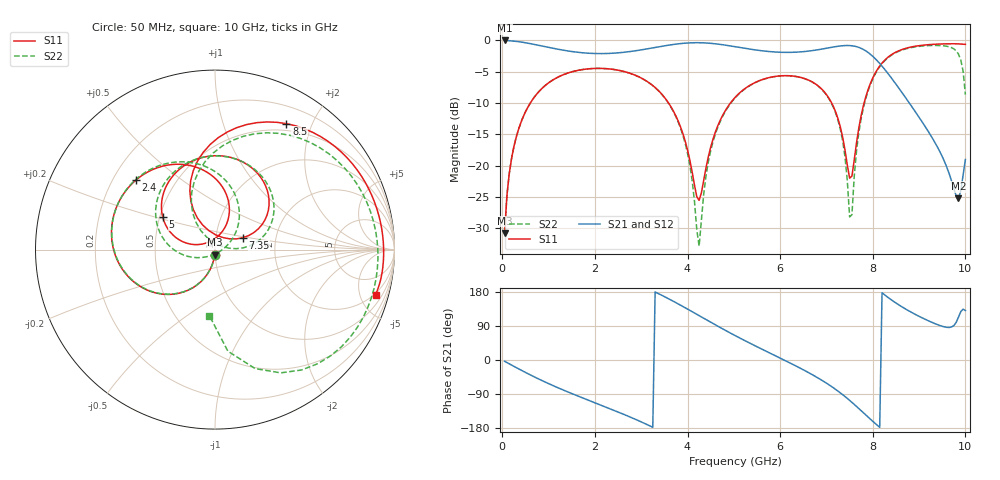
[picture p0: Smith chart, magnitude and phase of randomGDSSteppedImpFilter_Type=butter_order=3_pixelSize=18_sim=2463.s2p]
! freq	dB(S11)	phase(S11)	dB(S12)	phase(S12)
!  dB(S21)	phase(S21)	dB(S22)	phase(S22)
!S-par simulation data
#  GHz  S  DB  R 50
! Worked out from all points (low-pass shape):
!   200 points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, 50 MHz to 10 GHz, reference 50 ohm
!   highest |S21| = -0.01 dB at 50 MHz (marker M1); lowest = -25.2 dB at 9.85 GHz (marker M2)
!   |S21| within 3 dB of the highest: start of sweep to 8.065 GHz
!   lowest |S11| = -30.7 dB at 50 MHz (marker M3), VSWR 1.06, Z = 49.7 - j2.89 ohm
!   |S11| at or under -10 dB: start of sweep to 604.8 MHz; 3.59 GHz to 4.927 GHz (1.336 GHz wide, 31.4 % of centre); 7.112 GHz to 7.813 GHz (700.5 MHz wide, 9.39 % of centre)
!   |S22| runs from -32.8 to -0.8 dB; largest |S21 - S12| = 0
!   S11 on the Smith chart (normalised r, x): 50 MHz: 0.99, -0.06; 2.4 GHz: 0.29, +0.35; 5 GHz: 0.52, +0.21; 7.35 GHz: 1.35, +0.18; 8.5 GHz: 0.41, +1.64; 10 GHz: 1.82, -6.74
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0.05  -30.74 -93.4  -0.01 -3.4  -0.01 -3.4  -30.75 -93.4
0.2  -18.85 -103.8  -0.08 -13.4  -0.08 -13.4  -18.85 -103.9
0.5  -11.41 -123.2  -0.37 -32.8  -0.37 -32.8  -11.41 -123.4
1.75  -4.63 169.4  -1.99 -100.8  -1.99 -100.8  -4.63 168.2
2.4  -4.63 138.7  -2.04 -132.3  -2.04 -132.3  -4.63 136.4
3.4  -8.23 88.5  -0.99 173.5  -0.99 173.5  -8.25 80.7
3.95  -16.10 65.6  -0.44 137.8  -0.44 137.8  -16.45 39.6
4.25  -25.53 121.6  -0.37 117.1  -0.37 117.1  -32.85 -73.8
4.5  -17.05 167.4  -0.47 99.7  -0.47 99.7  -17.60 -161.0
5  -9.32 148.3  -0.97 66.2  -0.97 66.2  -9.40 159.2
5.05  -8.92 145.6  -1.03 63.0  -1.03 63.0  -8.99 155.8
5.85  -5.80 102.0  -1.83 14.0  -1.83 14.0  -5.82 104.6
6.7  -6.66 54.3  -1.62 -39.1  -1.62 -39.1  -6.69 50.1
7.35  -15.45 23.1  -0.85 -91.5  -0.85 -91.5  -16.07 3.5
7.55  -21.66 87.8  -0.86 -111.8  -0.86 -111.8  -27.83 100.1
7.65  -16.29 116.7  -1.00 -122.6  -1.00 -122.6  -17.55 126.8
7.8  -10.34 116.3  -1.45 -139.5  -1.45 -139.5  -10.69 116.9
8.35  -2.56 71.7  -5.49 163.2  -5.49 163.2  -2.64 61.4
8.5  -1.86 60.4  -6.98 150.4  -6.98 150.4  -1.94 48.2
9.25  -0.65 16.5  -15.14 100.8  -15.14 100.8  -0.81 -6.9
9.85  -0.55 -10.1  -25.21 112.9  -25.21 112.9  -2.18 -61.9
10  -0.64 -15.8  -19.01 130.4  -19.01 130.4  -8.66 -94.9
